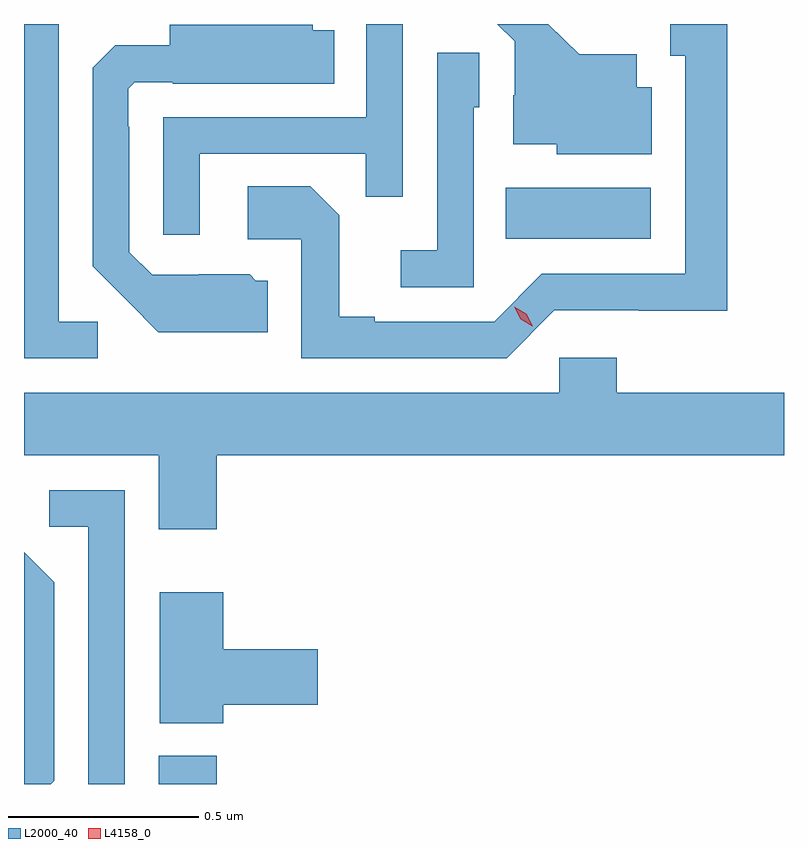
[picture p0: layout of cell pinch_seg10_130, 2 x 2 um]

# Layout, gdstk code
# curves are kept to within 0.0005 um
import gdstk
lib = gdstk.Library(unit=1e-6, precision=1e-09)
def R(c, l, rs):  # rectangles x0, y0, x1, y1
    for r in rs: c.add(gdstk.rectangle(r[:2], r[2:], *l))
def P(c, l, *ps):  # polygons
    for p in ps: c.add(gdstk.Polygon(p, *l))
L2000_40 = (2000, 40)
L4158_0 = (4158, 0)

pinch_seg10_130 = lib.new_cell('pinch_seg10_130')
R(pinch_seg10_130, L2000_40, [(714.098,1282.135,714.251,1282.21), (715.012,1283.57,715.393,1283.704)])
P(pinch_seg10_130, L2000_40, [(714.207,1283.793),(714.643,1283.793),(714.643,1283.68),(714.741,1283.68),(714.741,1284.135),(714.645,1284.135),(714.645,1283.889),(714.111,1283.889),(714.111,1283.58),(714.207,1283.58)],
  [(715.396,1283.968),(715.357,1283.968),(715.357,1284.055),(715.205,1284.055),(715.124,1284.135),(714.99,1284.135),(715.035,1284.09),(715.035,1283.948),(715.031,1283.948),(715.031,1283.819),(715.146,1283.819),(715.146,1283.792),(715.396,1283.792)],
  [(715.14,1283.382),(715.362,1283.382),(715.362,1283.381),(715.595,1283.381),(715.595,1284.135),(715.445,1284.135),(715.445,1284.051),(715.484,1284.051),(715.484,1283.478),(715.107,1283.478),(714.981,1283.352),(714.667,1283.352),(714.667,1283.365),(714.573,1283.365),(714.573,1283.632),(714.497,1283.708),(714.333,1283.708),(714.333,1283.568),(714.474,1283.568),(714.474,1283.256),(715.014,1283.256)],
  [(713.938,1283.352),(713.835,1283.352),(713.835,1284.135),(713.744,1284.135),(713.744,1283.256),(713.938,1283.256)],
  [(714.385,1283.46),(714.354,1283.46),(714.338,1283.476),(714.204,1283.476),(714.204,1283.475),(714.081,1283.475),(714.021,1283.535),(714.021,1283.864),(714.018,1283.864),(714.018,1283.964),(714.036,1283.982),(714.136,1283.982),(714.136,1283.978),(714.56,1283.978),(714.56,1284.118),(714.504,1284.118),(714.504,1284.133),(714.128,1284.133),(714.128,1284.079),(713.984,1284.079),(713.925,1284.02),(713.925,1283.498),(714.097,1283.324),(714.385,1283.324)],
  [(714.927,1283.916),(714.942,1283.916),(714.942,1284.059),(714.831,1284.059),(714.831,1283.539),(714.735,1283.539),(714.735,1283.442),(714.927,1283.442)],
  [(714.251,1283),(715.744,1283),(715.744,1283.164),(715.304,1283.164),(715.304,1283.257),(715.152,1283.257),(715.152,1283.164),(713.744,1283.164),(713.744,1283),(714.098,1283),(714.098,1282.806),(714.251,1282.806)],
  [(714.009,1282.908),(713.811,1282.908),(713.811,1282.812),(713.913,1282.812),(713.913,1282.135),(714.009,1282.135)],
  [(713.823,1282.144),(713.823,1282.666),(713.744,1282.745),(713.744,1282.135),(713.814,1282.135)],
  [(714.268,1282.343),(714.517,1282.343),(714.517,1282.49),(714.268,1282.49),(714.268,1282.639),(714.101,1282.639),(714.101,1282.295),(714.268,1282.295)])
P(pinch_seg10_130, L4158_0, [(715.082,1283.339),(715.051,1283.358),(715.034,1283.391),(715.034,1283.391),(715.034,1283.391),(715.066,1283.372),(715.083,1283.34),(715.083,1283.339)])

lib.write_gds('pinch_seg10_130.gds')
